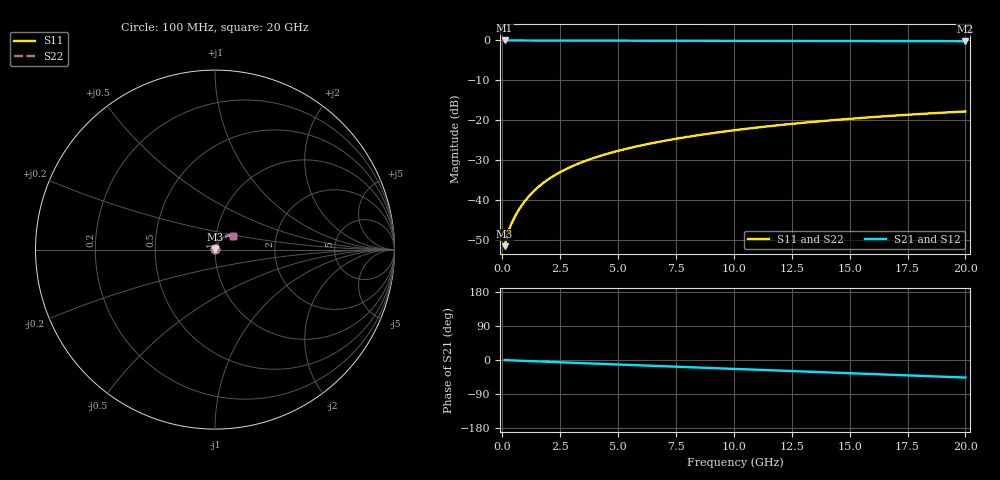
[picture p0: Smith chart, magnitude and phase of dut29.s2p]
! Touchstone file exported from HFSS 2026.1.0
!  File:  C:/ffzhzh/LocalFiles/Ansys_Project_Files/temp_train_TMRDL_29_1782880487_8056.aedt
!  Generated:  12:36:07 PM Jul  1, 2026
!  Design:  TMRDL
!  Project:  temp_train_TMRDL_29_1782880487_8056
! Variables:
!  h_bsmrdl = 2um
!  h_ox = 20um
!  h_rdl = 5um
!  h_sub = 80um
!  h_tmrdl = 5.31um
!  h_tsv = 80um
!  h_via = 3um
!  l_bsmrdl = 300um
!  l_sub = 1210.96um
!  l_tmrdl = 810.96um
!  m_sub = 200um
!  pitch = 37.81um
!  r_tsv = 6um
!  s_tmrdl = 10um
!  w_bsmrdl = 18um
!  w_sub = 500um
!  w_tmrdl = 28.27um
!  x_tsv_center1 = 825.095um
!  x_tsv_center2 = 1143.095um
!  x_tsv_center3 = 1982.325um
!  x_tsv_center4 = 2300.325um
!  x_tsv_center5 = 3139.555um
!  x_tsv_center6 = 3457.555um
# GHz S MA R 50.000000
! Terminal data exported
! Port[1] = TM_RDL1_1_T1
! Port[2] = TM_RDL1_1_T2
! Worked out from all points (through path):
!   200 points, 100 MHz to 20 GHz, reference 50 ohm
!   highest |S21| = -0.02 dB at 100 MHz (marker M1); lowest = -0.2 dB at 20 GHz (marker M2)
!   group delay of S21, straight-line fit = 6.4 ps
!   lowest |S11| = -51.6 dB at 100 MHz (marker M3), VSWR 1.01, Z = 50.2 + j0.135 ohm
!   |S11| at or under -10 dB: start of sweep to end of sweep
!   |S22| runs from -51.6 to -17.8 dB; largest |S21 - S12| = 4e-14
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0.1  0.002629 30.9  0.9977 -0.3  0.9977 -0.3  0.002629 30.9
! Gamma 0 0 0 0
! Port Impedance 50 0 50 0
0.2  0.003533 42.1  0.9974 -0.5  0.9974 -0.5  0.003533 42.1
0.3  0.004325 48.1  0.9972 -0.8  0.9972 -0.8  0.004325 48.1
0.4  0.005073 52.7  0.997 -1.0  0.997 -1.0  0.005073 52.8
0.5  0.005825 56.5  0.9969 -1.2  0.9969 -1.2  0.005825 56.5
0.6  0.006596 59.6  0.9968 -1.5  0.9968 -1.5  0.006596 59.6
0.8  0.008194 64.0  0.9967 -2.0  0.9967 -2.0  0.008193 64.0
1  0.009842 66.8  0.9965 -2.4  0.9965 -2.4  0.009842 66.8
1.2  0.01152 68.6  0.9963 -2.9  0.9963 -2.9  0.01152 68.7
1.4  0.0132 69.8  0.9961 -3.4  0.9961 -3.4  0.0132 69.8
1.7  0.01572 70.8  0.9958 -4.1  0.9958 -4.1  0.01572 70.8
2.2  0.01987 71.2  0.9952 -5.3  0.9952 -5.3  0.01987 71.3
2.8  0.02471 70.9  0.9944 -6.7  0.9944 -6.7  0.02471 70.9
3.5  0.03016 69.9  0.9935 -8.4  0.9935 -8.4  0.03016 70.0
4.2  0.03541 68.8  0.9925 -10.0  0.9925 -10.0  0.03541 68.8
5  0.04122 67.4  0.9915 -11.9  0.9915 -11.9  0.04121 67.4
6.8  0.05372 64.1  0.9894 -16.1  0.9894 -16.1  0.05371 64.1
8.3  0.0637 61.2  0.9877 -19.5  0.9877 -19.5  0.06369 61.3
10.1  0.07522 57.7  0.9858 -23.7  0.9858 -23.7  0.07521 57.8
13.4  0.09499 51.1  0.9825 -31.3  0.9825 -31.3  0.09498 51.2
16.7  0.1128 44.2  0.9793 -38.8  0.9793 -38.8  0.1128 44.4
20  0.1285 37.3  0.9762 -46.3  0.9762 -46.3  0.1285 37.4
